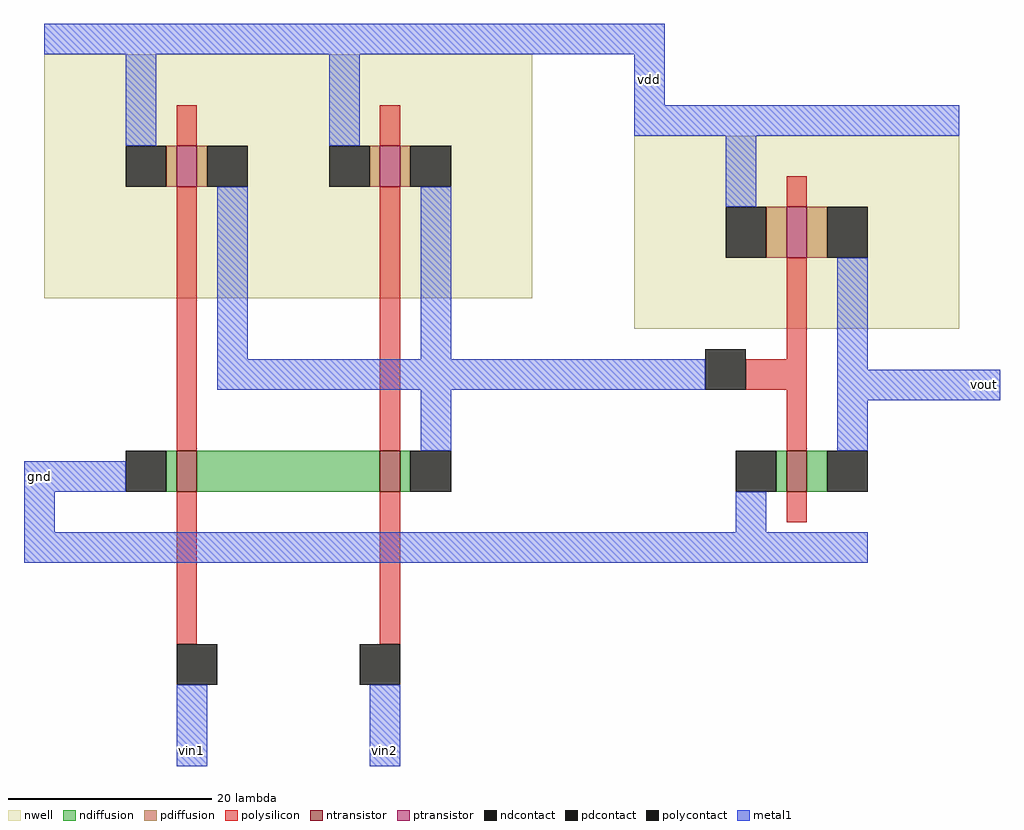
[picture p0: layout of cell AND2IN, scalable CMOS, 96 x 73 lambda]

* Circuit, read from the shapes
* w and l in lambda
.subckt AND2IN gnd vdd vin1 vin2 vout
M1 n1 vin1 gnd VSUBS nfet w=4 l=2
M2 NOT_0/in vin2 n1 VSUBS nfet w=4 l=2
M3 vout NOT_0/in gnd VSUBS nfet w=4 l=2
M4 NOT_0/in vin1 vdd n2 pfet w=4 l=2
M5 NOT_0/in vin2 vdd n2 pfet w=4 l=2
M6 vout NOT_0/in vdd n3 pfet w=5 l=2
.ends

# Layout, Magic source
magic
tech scmos
<< metal1 >>
rect 44 55 61 58
rect 58 47 61 55
rect 46 22 63 25
rect 84 21 94 24
rect -2 12 5 15
rect -2 8 1 12
rect -2 5 68 8
rect 13 -15 16 -11
rect 32 -15 35 -11
use NAND2IN  NAND2IN_0
transform 1 0 16 0 1 35
box -16 -46 32 23
use NOT  NOT_0
transform 1 0 65 0 1 31
box -7 -26 25 19
<< labels >>
rlabel metal1 -1 13 0 14 3 gnd
rlabel metal1 59 52 60 53 1 vdd
rlabel metal1 92 22 93 23 7 vout
rlabel metal1 14 -14 15 -13 1 vin1
rlabel metal1 33 -14 34 -13 1 vin2
<< end >>

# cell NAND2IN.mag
magic
tech scmos
<< nwell >>
rect -16 -4 32 20
<< ntransistor >>
rect -3 -23 -1 -19
rect 17 -23 19 -19
<< ptransistor >>
rect -3 7 -1 11
rect 17 7 19 11
<< ndiffusion >>
rect -4 -23 -3 -19
rect -1 -23 17 -19
rect 19 -23 20 -19
<< pdiffusion >>
rect -4 7 -3 11
rect -1 7 0 11
rect 16 7 17 11
rect 19 7 20 11
<< ndcontact >>
rect -8 -23 -4 -19
rect 20 -23 24 -19
<< pdcontact >>
rect -8 7 -4 11
rect 0 7 4 11
rect 12 7 16 11
rect 20 7 24 11
<< polysilicon >>
rect -3 11 -1 15
rect 17 11 19 15
rect -3 -19 -1 7
rect 17 -19 19 7
rect -3 -38 -1 -23
rect 17 -38 19 -23
<< polycontact >>
rect -3 -42 1 -38
rect 15 -42 19 -38
<< metal1 >>
rect -16 20 32 23
rect -8 11 -5 20
rect 12 11 15 20
rect 1 -10 4 7
rect 21 -10 24 7
rect 1 -13 32 -10
rect 21 -19 24 -13
rect -13 -23 -8 -20
rect -3 -46 0 -42
rect 16 -46 19 -42
<< labels >>
rlabel metal1 7 21 8 22 5 vdd
rlabel metal1 28 -12 29 -11 7 vout
rlabel metal1 -12 -22 -11 -21 3 gnd
rlabel metal1 -2 -44 -1 -43 1 vin1
rlabel metal1 17 -44 18 -43 1 vin2
<< end >>

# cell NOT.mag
magic
tech scmos
<< nwell >>
rect -7 -3 25 16
<< ntransistor >>
rect 8 -19 10 -15
<< ptransistor >>
rect 8 4 10 9
<< ndiffusion >>
rect 7 -19 8 -15
rect 10 -19 12 -15
<< pdiffusion >>
rect 6 4 8 9
rect 10 4 12 9
<< ndcontact >>
rect 3 -19 7 -15
rect 12 -19 16 -15
<< pdcontact >>
rect 2 4 6 9
rect 12 4 16 9
<< polysilicon >>
rect 8 9 10 12
rect 8 -6 10 4
rect 4 -9 10 -6
rect 8 -15 10 -9
rect 8 -22 10 -19
<< polycontact >>
rect 0 -9 4 -5
<< metal1 >>
rect -7 16 25 19
rect 2 9 5 16
rect -3 -9 0 -6
rect 13 -7 16 4
rect 13 -10 20 -7
rect 13 -15 16 -10
rect 3 -23 6 -19
rect 2 -26 16 -23
<< labels >>
rlabel metal1 6 17 9 18 5 vdd
rlabel metal1 -3 -8 -2 -7 3 in
rlabel metal1 18 -9 19 -8 1 out
rlabel metal1 9 -25 10 -24 1 gnd
<< end >>
